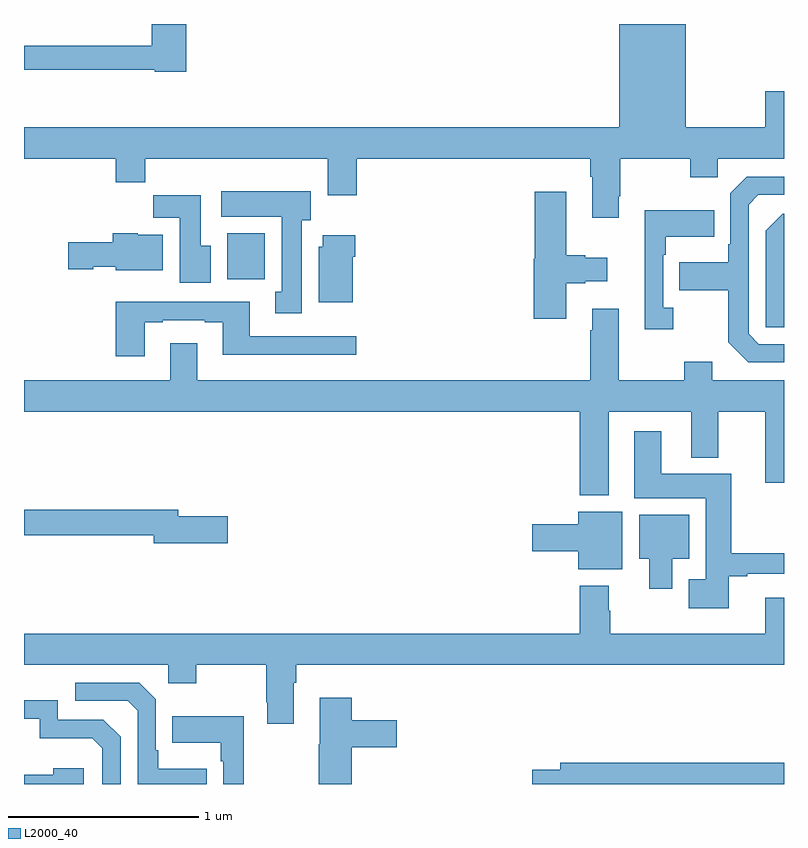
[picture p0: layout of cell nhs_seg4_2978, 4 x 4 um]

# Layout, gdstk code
import gdstk
lib = gdstk.Library(unit=1e-6, precision=1e-09)
def R(c, l, rs):  # rectangles x0, y0, x1, y1
    for r in rs: c.add(gdstk.rectangle(r[:2], r[2:], *l))
def P(c, l, *ps):  # polygons
    for p in ps: c.add(gdstk.Polygon(p, *l))
L2000_40 = (2000, 40)

nhs_seg4_2978 = lib.new_cell('nhs_seg4_2978')
R(nhs_seg4_2978, L2000_40, [(270.071,757.556,270.268,757.798)])
P(nhs_seg4_2978, L2000_40, [(272.131,757.993),(272.139,757.993),(272.139,758.192),(272.506,758.192),(272.506,758.093),(272.652,758.093),(272.652,758.192),(273,758.192),(273,758.545),(272.9,758.545),(272.9,758.356),(272.482,758.356),(272.482,758.9),(272.132,758.9),(272.132,758.356),(269,758.356),(269,758.192),(269.483,758.192),(269.483,758.068),(269.639,758.068),(269.639,758.192),(270.599,758.192),(270.599,757.998),(270.752,757.998),(270.752,758.192),(271.979,758.192),(271.979,758.096),(271.991,758.096),(271.991,757.881),(272.131,757.881)],
  [(269.855,758.9),(269.672,758.9),(269.672,758.786),(269,758.786),(269,758.658),(269.688,758.658),(269.688,758.65),(269.855,758.65)],
  [(273,757.215),(272.868,757.215),(272.814,757.269),(272.814,757.95),(272.865,758.001),(273,758.001),(273,758.097),(272.805,758.097),(272.718,758.01),(272.718,757.741),(272.706,757.741),(272.706,757.645),(272.449,757.645),(272.449,757.498),(272.706,757.498),(272.706,757.225),(272.811,757.119),(273,757.119)],
  [(270.463,757.866),(270.508,757.866),(270.508,758.02),(270.039,758.02),(270.039,757.886),(270.356,757.886),(270.356,757.49),(270.323,757.49),(270.323,757.377),(270.463,757.377)],
  [(271.855,757.535),(271.955,757.535),(271.955,757.547),(272.071,757.547),(272.071,757.669),(271.955,757.669),(271.955,757.682),(271.855,757.682),(271.855,758.017),(271.688,758.017),(271.688,757.665),(271.682,757.665),(271.682,757.35),(271.855,757.35)],
  [(269.983,757.732),(269.929,757.732),(269.929,757.999),(269.68,757.999),(269.68,757.88),(269.819,757.88),(269.819,757.539),(269.983,757.539)],
  [(272.416,757.406),(272.364,757.406),(272.364,757.685),(272.377,757.685),(272.377,757.781),(272.633,757.781),(272.633,757.921),(272.267,757.921),(272.267,757.293),(272.416,757.293)],
  [(273,757.902),(272.994,757.902),(272.904,757.812),(272.904,757.305),(273,757.305)],
  [(269.731,757.792),(269.598,757.792),(269.598,757.798),(269.468,757.798),(269.468,757.752),(269.232,757.752),(269.232,757.61),(269.364,757.61),(269.364,757.622),(269.484,757.622),(269.484,757.604),(269.731,757.604)],
  [(270.73,757.676),(270.743,757.676),(270.743,757.789),(270.572,757.789),(270.572,757.728),(270.551,757.728),(270.551,757.436),(270.73,757.436)],
  [(269.635,757.329),(269.731,757.329),(269.731,757.341),(269.951,757.341),(269.951,757.329),(270.047,757.329),(270.047,757.16),(270.748,757.16),(270.748,757.257),(270.187,757.257),(270.187,757.437),(269.723,757.437),(269.723,757.438),(269.483,757.438),(269.483,757.152),(269.635,757.152)],
  [(272.077,756.86),(272.513,756.86),(272.513,756.617),(272.653,756.617),(272.653,756.86),(272.9,756.86),(272.9,756.486),(273,756.486),(273,757.024),(272.623,757.024),(272.623,757.123),(272.476,757.123),(272.476,757.024),(272.131,757.024),(272.131,757.402),(271.991,757.402),(271.991,757.289),(271.979,757.289),(271.979,757.024),(269.911,757.024),(269.911,757.219),(269.771,757.219),(269.771,757.024),(269,757.024),(269,756.86),(271.925,756.86),(271.925,756.419),(272.077,756.419)],
  [(272.71,755.994),(272.806,755.994),(272.806,756.006),(273,756.006),(273,756.115),(272.723,756.115),(272.723,756.532),(272.353,756.532),(272.353,756.757),(272.213,756.757),(272.213,756.404),(272.588,756.404),(272.588,755.977),(272.498,755.977),(272.498,755.825),(272.71,755.825)],
  [(270.073,756.308),(269.812,756.308),(269.812,756.344),(269,756.344),(269,756.208),(269.684,756.208),(269.684,756.166),(270.073,756.166)],
  [(272.149,756.334),(271.916,756.334),(271.916,756.266),(271.674,756.266),(271.674,756.124),(271.916,756.124),(271.916,756.029),(272.149,756.029)],
  [(272.413,756.086),(272.5,756.086),(272.5,756.316),(272.237,756.316),(272.237,756.086),(272.291,756.086),(272.291,755.928),(272.413,755.928)],
  [(270.421,755.432),(270.434,755.432),(270.434,755.528),(273,755.528),(273,755.881),(272.9,755.881),(272.9,755.692),(272.085,755.692),(272.085,755.813),(272.077,755.813),(272.077,755.944),(271.925,755.944),(271.925,755.692),(269,755.692),(269,755.528),(269.76,755.528),(269.76,755.429),(269.907,755.429),(269.907,755.528),(270.274,755.528),(270.274,755.329),(270.281,755.329),(270.281,755.217),(270.421,755.217)],
  [(269.963,754.981),(269.707,754.981),(269.707,755.077),(269.694,755.077),(269.694,755.346),(269.607,755.433),(269.271,755.433),(269.271,755.337),(269.547,755.337),(269.598,755.286),(269.598,754.9),(269.963,754.9)],
  [(270.725,755.093),(270.961,755.093),(270.961,755.235),(270.725,755.235),(270.725,755.353),(270.557,755.353),(270.557,755.109),(270.55,755.109),(270.55,754.9),(270.725,754.9)],
  [(269.508,755.148),(269.418,755.238),(269.178,755.238),(269.178,755.34),(269,755.34),(269,755.244),(269.082,755.244),(269.082,755.141),(269.359,755.141),(269.412,755.088),(269.412,754.9),(269.508,754.9)],
  [(270.157,755.257),(269.779,755.257),(269.779,755.117),(270.036,755.117),(270.036,755.021),(270.048,755.021),(270.048,754.9),(270.157,754.9)],
  [(273,755.012),(271.823,755.012),(271.823,754.976),(271.674,754.976),(271.674,754.9),(273,754.9)],
  [(269.314,754.984),(269.153,754.984),(269.153,754.95),(269,754.95),(269,754.9),(269.314,754.9)])

lib.write_gds('nhs_seg4_2978.gds')
